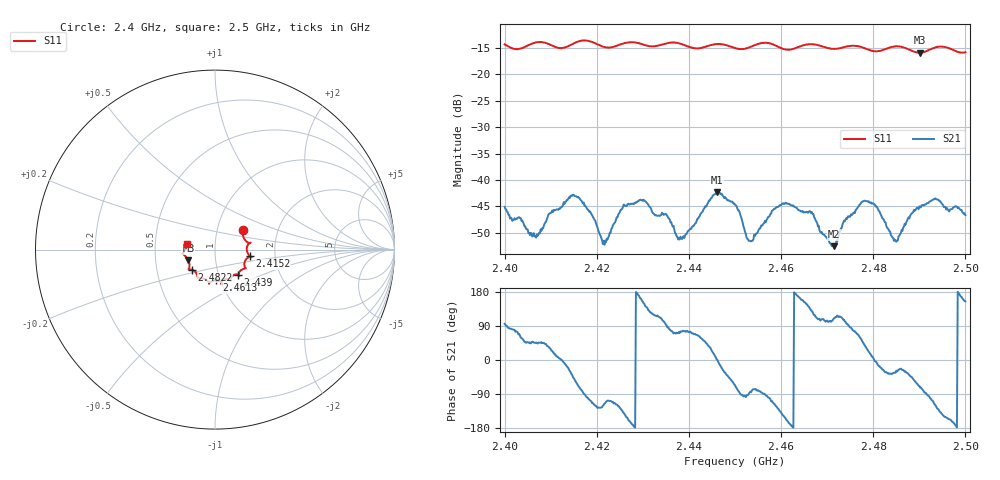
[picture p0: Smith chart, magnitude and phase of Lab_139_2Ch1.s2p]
# Hz S RI R 50
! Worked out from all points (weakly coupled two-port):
!   601 points, 2.4 GHz to 2.5 GHz, reference 50 ohm
!   highest |S21| = -42.37 dB at 2.4462 GHz (marker M1); lowest = -52.5 dB at 2.4715 GHz (marker M2)
!   lowest |S11| = -15.9 dB at 2.4902 GHz (marker M3), VSWR 1.38, Z = 36.9 - j4.59 ohm
!   |S11| at or under -10 dB: start of sweep to end of sweep
!   S12 and S22 are empty: the file has one direction only
!   S11 on the Smith chart (normalised r, x): 2.4 GHz: 1.33, +0.31; 2.4152 GHz: 1.48, -0.11; 2.439 GHz: 1.24, -0.36; 2.4613 GHz: 0.96, -0.34; 2.4822 GHz: 0.76, -0.17; 2.5 GHz: 0.72, +0.05
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2.4e9  0.1565 0.111  -0.00053 0.00554  0 0  0 0
2.407e9  0.1978 0.0376  0.00216 0.00217  0 0  0 0
2.415167e9  0.1944 -0.0362  0.00443 -0.00549  0 0  0 0
2.416667e9  0.2041 -0.042  0.0012 -0.00625  0 0  0 0
2.4215e9  0.1738 -0.0533  -0.00127 -0.00234  0 0  0 0
2.426333e9  0.1701 -0.1027  -0.00491 -0.00289  0 0  0 0
2.43e9  0.1588 -0.1079  -0.00568 0.00282  0 0  0 0
2.433333e9  0.1328 -0.1322  -0.00194 0.00417  0 0  0 0
2.439e9  0.1284 -0.1391  0.000683 0.00274  0 0  0 0
2.446167e9  0.0854 -0.1737  0.00761 6.06e-05  0 0  0 0
2.45e9  0.0687 -0.1639  0.00236 -0.00536  0 0  0 0
2.453333e9  0.0371 -0.1779  0.00029 -0.00262  0 0  0 0
2.461333e9  0.00755 -0.1709  -0.00563 -0.00203  0 0  0 0
2.466667e9  -0.0333 -0.1902  -0.00315 0.00384  0 0  0 0
2.4715e9  -0.0598 -0.1633  -0.000821 0.00222  0 0  0 0
2.477833e9  -0.0968 -0.1504  0.00444 0.00449  0 0  0 0
2.482167e9  -0.1282 -0.1119  0.00385 -0.00187  0 0  0 0
2.483333e9  -0.1395 -0.1104  0.00279 -0.00193  0 0  0 0
2.485e9  -0.1473 -0.1106  0.0023 -0.00123  0 0  0 0
2.490167e9  -0.1482 -0.0607  0.00165 -0.00528  0 0  0 0
2.493667e9  -0.1792 -0.0245  -0.00357 -0.00554  0 0  0 0
2.5e9  -0.1585 0.0335  -0.0042 0.00199  0 0  0 0
